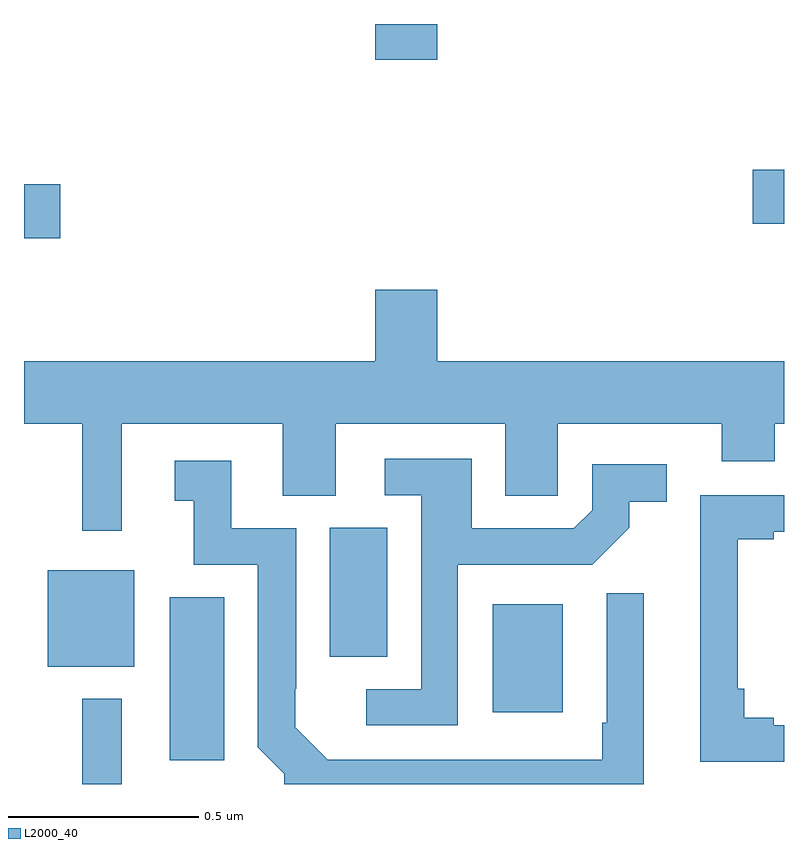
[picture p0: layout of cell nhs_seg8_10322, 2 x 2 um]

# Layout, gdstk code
import gdstk
lib = gdstk.Library(unit=1e-6, precision=1e-09)
def R(c, l, rs):  # rectangles x0, y0, x1, y1
    for r in rs: c.add(gdstk.rectangle(r[:2], r[2:], *l))
def P(c, l, *ps):  # polygons
    for p in ps: c.add(gdstk.Polygon(p, *l))
L2000_40 = (2000, 40)

nhs_seg8_10322 = lib.new_cell('nhs_seg8_10322')
R(nhs_seg8_10322, L2000_40, [(248.153,1100.9,248.257,1101.124), (248.384,1100.963,248.527,1101.392), (249.233,1101.089,249.418,1101.373), (248.063,1101.209,248.29,1101.463), (248.804,1101.235,248.956,1101.574), (248,1102.336,248.095,1102.478), (249.918,1102.375,250,1102.517), (248.924,1102.806,249.088,1102.9)])
P(nhs_seg8_10322, L2000_40, [(248.257,1101.848),(248.681,1101.848),(248.681,1101.659),(248.821,1101.659),(248.821,1101.848),(249.266,1101.848),(249.266,1101.658),(249.405,1101.658),(249.405,1101.848),(249.836,1101.848),(249.836,1101.749),(249.976,1101.749),(249.976,1101.848),(250,1101.848),(250,1102.012),(249.088,1102.012),(249.088,1102.201),(248.924,1102.201),(248.924,1102.012),(248,1102.012),(248,1101.848),(248.153,1101.848),(248.153,1101.567),(248.257,1101.567)],
  [(249.141,1101.477),(249.495,1101.477),(249.593,1101.575),(249.593,1101.643),(249.691,1101.643),(249.691,1101.741),(249.495,1101.741),(249.495,1101.621),(249.447,1101.573),(249.178,1101.573),(249.178,1101.756),(248.949,1101.756),(248.949,1101.66),(249.045,1101.66),(249.045,1101.15),(248.901,1101.15),(248.901,1101.054),(249.141,1101.054)],
  [(249.631,1101.402),(249.534,1101.402),(249.534,1101.061),(249.522,1101.061),(249.522,1100.964),(248.799,1100.964),(248.714,1101.05),(248.714,1101.151),(248.716,1101.151),(248.716,1101.573),(248.545,1101.573),(248.545,1101.751),(248.397,1101.751),(248.397,1101.645),(248.447,1101.645),(248.447,1101.477),(248.615,1101.477),(248.615,1100.997),(248.685,1100.927),(248.685,1100.9),(249.631,1100.9)],
  [(250,1101.055),(249.973,1101.055),(249.973,1101.074),(249.896,1101.074),(249.896,1101.151),(249.878,1101.151),(249.878,1101.544),(249.973,1101.544),(249.973,1101.564),(250,1101.564),(250,1101.66),(249.779,1101.66),(249.779,1100.958),(250,1100.958)])

lib.write_gds('nhs_seg8_10322.gds')
